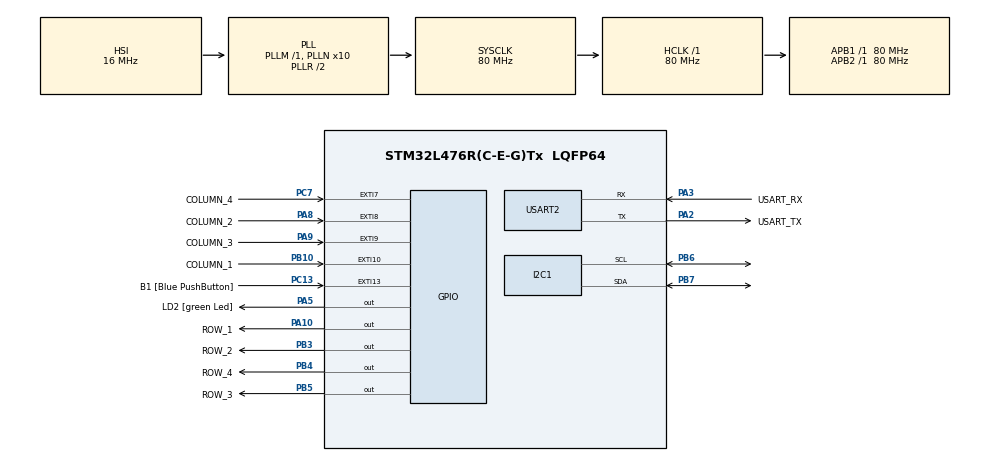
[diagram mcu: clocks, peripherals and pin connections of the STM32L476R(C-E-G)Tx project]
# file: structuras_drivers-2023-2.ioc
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I2C1.Timing=0x10909CEC
Mcu.Family=STM32L4
Mcu.Name=STM32L476R(C-E-G)Tx
Mcu.Package=LQFP64
NVIC.EXTI15_10_IRQn=true\:0\:0\:false\:false\:true\:true\:true\:true
NVIC.EXTI9_5_IRQn=true\:0\:0\:false\:false\:true\:true\:true\:true
NVIC.PriorityGroup=NVIC_PRIORITYGROUP_4
NVIC.USART2_IRQn=true\:0\:0\:false\:false\:true\:true\:true\:true
PA10.GPIO_Label=ROW_1
PA10.Signal=GPIO_Output
PA13\ (JTMS-SWDIO).GPIO_Label=TMS
PA13\ (JTMS-SWDIO).Mode=Serial_Wire
PA13\ (JTMS-SWDIO).Signal=SYS_JTMS-SWDIO
PA14\ (JTCK-SWCLK).GPIO_Label=TCK
PA14\ (JTCK-SWCLK).Mode=Serial_Wire
PA14\ (JTCK-SWCLK).Signal=SYS_JTCK-SWCLK
PA2.GPIO_Label=USART_TX
PA2.GPIO_Mode=GPIO_MODE_AF_PP
PA2.GPIO_PuPd=GPIO_NOPULL
PA2.GPIO_Speed=GPIO_SPEED_FREQ_VERY_HIGH
PA2.Mode=Asynchronous
PA2.Signal=USART2_TX
PA3.GPIO_Label=USART_RX
PA3.GPIO_Mode=GPIO_MODE_AF_PP
PA3.GPIO_PuPd=GPIO_NOPULL
PA3.GPIO_Speed=GPIO_SPEED_FREQ_VERY_HIGH
PA3.Mode=Asynchronous
PA3.Signal=USART2_RX
PA5.GPIO_Label=LD2 [green Led]
PA5.GPIO_ModeDefaultOutputPP=GPIO_MODE_OUTPUT_PP
PA5.GPIO_PuPd=GPIO_NOPULL
PA5.GPIO_Speed=GPIO_SPEED_FREQ_LOW
PA5.Signal=GPIO_Output
PA8.GPIO_Label=COLUMN_2
PA8.Signal=GPXTI8
PA9.GPIO_Label=COLUMN_3
PA9.Signal=GPXTI9
PB10.GPIO_Label=COLUMN_1
PB10.Signal=GPXTI10
PB3\ (JTDO-TRACESWO).GPIO_Label=ROW_2
PB3\ (JTDO-TRACESWO).Signal=GPIO_Output
PB4\ (NJTRST).GPIO_Label=ROW_4
PB4\ (NJTRST).Signal=GPIO_Output
PB5.GPIO_Label=ROW_3
PB5.Signal=GPIO_Output
PB6.Mode=I2C
PB6.Signal=I2C1_SCL
PB7.Mode=I2C
PB7.Signal=I2C1_SDA
PC13.GPIO_Label=B1 [Blue PushButton]
PC13.GPIO_ModeDefaultEXTI=GPIO_MODE_IT_FALLING
PC13.GPIO_PuPd=GPIO_NOPULL
PC13.Signal=GPXTI13
PC14-OSC32_IN\ (PC14).Mode=LSE-External-Oscillator
PC14-OSC32_IN\ (PC14).Signal=RCC_OSC32_IN
PC15-OSC32_OUT\ (PC15).Mode=LSE-External-Oscillator
PC15-OSC32_OUT\ (PC15).Signal=RCC_OSC32_OUT
PC7.GPIO_Label=COLUMN_4
PC7.Signal=GPXTI7
PH0-OSC_IN\ (PH0).Signal=RCC_OSC_IN
PH1-OSC_OUT\ (PH1).Signal=RCC_OSC_OUT
ProjectManager.HeapSize=0x200
ProjectManager.StackSize=0x400
ProjectManager.TargetToolchain=STM32CubeIDE
RCC.ADCFreq_Value=64000000
RCC.AHBFreq_Value=80000000
RCC.APB1Freq_Value=80000000
RCC.APB1TimFreq_Value=80000000
RCC.APB2Freq_Value=80000000
RCC.APB2TimFreq_Value=80000000
RCC.CortexFreq_Value=80000000
RCC.HCLKFreq_Value=80000000
RCC.HSE_VALUE=8000000
RCC.HSI_VALUE=16000000
RCC.MSI_VALUE=4000000
RCC.PLLN=10
RCC.PLLSourceVirtual=RCC_PLLSOURCE_HSI
RCC.PREFETCH_ENABLE=1
RCC.SYSCLKFreq_VALUE=80000000
RCC.SYSCLKSource=RCC_SYSCLKSOURCE_PLLCLK
RCC.USBFreq_Value=64000000
RCC.VCOOutputFreq_Value=160000000
USART2.VirtualMode-Asynchronous=VM_ASYNC
board=NUCLEO-L476RG

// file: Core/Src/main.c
/* USER CODE BEGIN Header */
/**
  ******************************************************************************
  * @file           : main.c
  * @brief          : Main program body
  ******************************************************************************
  * @attention
  *
  * Copyright (c) 2023 STMicroelectronics.
  * All rights reserved.
  *
  * This software is licensed under terms that can be found in the LICENSE file
  * in the root directory of this software component.
  * If no LICENSE file comes with this software, it is provided AS-IS.
  *
  ******************************************************************************
  */
/* USER CODE END Header */
#include "main.h"

/* USER CODE BEGIN Includes */
#include <stdio.h>

#include "ring_buffer.h"

#include "ssd1306.h"
#include "ssd1306_fonts.h"
/* USER CODE END Includes */

I2C_HandleTypeDef hi2c1;

UART_HandleTypeDef huart2;

/* USER CODE BEGIN PV */
ring_buffer_t ring_buffer_uart_rx;
uint8_t rx_buffer[16];

uint8_t rx_data;

uint16_t key_event = 0xFF;

ring_buffer_t ring_buffer_keypad;
uint8_t count = 0;
uint16_t memory[5];
/* USER CODE END PV */

void SystemClock_Config(void);
static void MX_GPIO_Init(void);
static void MX_USART2_UART_Init(void);
static void MX_I2C1_Init(void);

/* USER CODE BEGIN 0 */

int _write(int file, char *ptr, int len)
{
  HAL_UART_Transmit(&huart2, (uint8_t *)ptr, len, HAL_MAX_DELAY);
  return len;
}
/**
  * @brief  Rx Transfer completed callback.
  * @param  huart UART handle.
  * @retval None
  */
void HAL_UART_RxCpltCallback(UART_HandleTypeDef *huart)
{
	if (ring_buffer_put(&ring_buffer_uart_rx, rx_data) == 0) {
		printf("Rx buffer is full\r\n");
	}

	HAL_UART_Receive_IT(&huart2, &rx_data, 1);
}

/**
  * @brief  EXTI line detection callback.
  * @param  GPIO_Pin Specifies the port pin connected
  *         to corresponding EXTI line.
  * @retval None
  */
void HAL_GPIO_EXTI_Callback(uint16_t GPIO_Pin)
{
	key_event = GPIO_Pin;
}

/**
 * @brief This functions initialize the functionality of the keypad
 */
void keypad_init(void)
{
	/* Set the rows high to be detected in the columns by rising interrupt */
	ROW_1_GPIO_Port->BSRR = ROW_1_Pin;
	ROW_2_GPIO_Port->BSRR = ROW_2_Pin;
	ROW_3_GPIO_Port->BSRR = ROW_3_Pin;
	ROW_4_GPIO_Port->BSRR = ROW_4_Pin;
}

/**
 * @brief  This function debounces and identify keypad events.
 * @param  column_to_evaluate: the column where the event happened.
 * @retval 0xFF -> invalid key. [0x00 - 0x0F] -> valid key.
 */
uint8_t keypad_handler(uint16_t column_to_evaluate)
{
	uint8_t key_pressed = 0xFF; // Value to return

	/*** Debounce the key press (remove noise in the key) ***/
#define KEY_DEBOUNCE_MS 300 /*!> Minimum time required for since last press */
	static uint32_t last_pressed_tick = 0;
	if (HAL_GetTick() <= (last_pressed_tick + KEY_DEBOUNCE_MS)) {
		// less than KEY_DEBOUNCE_MS since last press. Probably noise
		return key_pressed; // return 0xFF
	}
	last_pressed_tick = HAL_GetTick();

	/*** Check in which column the event happened ***/
	switch (column_to_evaluate) {

	case COLUMN_1_Pin:
		ROW_1_GPIO_Port->BSRR = ROW_1_Pin; // turn on row 1
		ROW_2_GPIO_Port->BRR = ROW_2_Pin;  // turn off row 2
		ROW_3_GPIO_Port->BRR = ROW_3_Pin;  // turn off row 3
		ROW_4_GPIO_Port->BRR = ROW_4_Pin;  // turn off row 4
		HAL_Delay(2); // wait for voltage to establish
		if (COLUMN_1_GPIO_Port->IDR & COLUMN_1_Pin) {
			key_pressed = 0x01; // if column 1 is still high -> column 1 + row 1 = key 1
			break;
		}

		ROW_1_GPIO_Port->BRR = ROW_1_Pin; 	// turn off row 1
		ROW_2_GPIO_Port->BSRR = ROW_2_Pin; 	// turn on row 2
		HAL_Delay(2); // wait for voltage to establish
		if (COLUMN_1_GPIO_Port->IDR & COLUMN_1_Pin) {
			key_pressed = 0x04; // if column 1 is still high -> column 1 + row 2 = key 4
			break;
		}

		ROW_2_GPIO_Port->BRR = ROW_2_Pin; 	// turn off row 2
		ROW_3_GPIO_Port->BSRR = ROW_3_Pin; 	// turn on row 3
		HAL_Delay(2); // wait for voltage to establish
		if (COLUMN_1_GPIO_Port->IDR & COLUMN_1_Pin) {
			key_pressed = 0x07; // if column 1 is still high -> column 1 + row 3 = key 7
			break;
		}

		ROW_3_GPIO_Port->BRR = ROW_3_Pin;	// turn off row 3
		ROW_4_GPIO_Port->BSRR = ROW_4_Pin; 	// turn on row 4
		HAL_Delay(2); // wait for voltage to establish
		if (COLUMN_1_GPIO_Port->IDR & COLUMN_1_Pin) {
			key_pressed = 0x0E; // if column 1 is still high -> column 1 + row 4 = key *
			break;
		}
	  break;

	case COLUMN_2_Pin:
		ROW_1_GPIO_Port->BSRR = ROW_1_Pin; // turn on row 1
		ROW_2_GPIO_Port->BRR = ROW_2_Pin;  // turn off row 2
		ROW_3_GPIO_Port->BRR = ROW_3_Pin;  // turn off row 3
		ROW_4_GPIO_Port->BRR = ROW_4_Pin;  // turn off row 4
		HAL_Delay(2); // wait for voltage to establish
		if (COLUMN_2_GPIO_Port->IDR & COLUMN_2_Pin) {
			key_pressed = 0x02; // if column 2 is still high -> column 2 + row 1 = key 2
			break;
		}

		ROW_1_GPIO_Port->BRR = ROW_1_Pin; 	// turn off row 1
		ROW_2_GPIO_Port->BSRR = ROW_2_Pin; 	// turn on row 2
		HAL_Delay(2); // wait for voltage to establish
		if (COLUMN_2_GPIO_Port->IDR & COLUMN_2_Pin) {
			key_pressed = 0x05; // if column 2 is still high -> column 2 + row 2 = key 5
			break;
		}

		ROW_2_GPIO_Port->BRR = ROW_2_Pin; 	// turn off row 2
		ROW_3_GPIO_Port->BSRR = ROW_3_Pin; 	// turn on row 3
		HAL_Delay(2); // wait for voltage to establish
		if (COLUMN_2_GPIO_Port->IDR & COLUMN_2_Pin) {
			key_pressed = 0x08; // if column 2 is still high -> column 2 + row 3 = key 8
			break;
		}

		ROW_3_GPIO_Port->BRR = ROW_3_Pin;	// turn off row 3
		ROW_4_GPIO_Port->BSRR = ROW_4_Pin; 	// turn on row 4
		HAL_Delay(2); // wait for voltage to establish
		if (COLUMN_2_GPIO_Port->IDR & COLUMN_2_Pin) {
			key_pressed = 0x00; // if column 2 is still high -> column 2 + row 4 = key 0
			break;
		}
		break;

	case COLUMN_3_Pin:
		ROW_1_GPIO_Port->BSRR = ROW_1_Pin; // turn on row 1
		ROW_2_GPIO_Port->BRR = ROW_2_Pin;  // turn off row 2
		ROW_3_GPIO_Port->BRR = ROW_3_Pin;  // turn off row 3
		ROW_4_GPIO_Port->BRR = ROW_4_Pin;  // turn off row 4
		HAL_Delay(2); // wait for voltage to establish
		if (COLUMN_3_GPIO_Port->IDR & COLUMN_3_Pin) {
			key_pressed = 0x03; // if column 3 is still high -> column 3 + row 1 = key 3
			break;
		}

		ROW_1_GPIO_Port->BRR = ROW_1_Pin; 	// turn off row 1
		ROW_2_GPIO_Port->BSRR = ROW_2_Pin; 	// turn on row 2
		HAL_Delay(2); // wait for voltage to establish
		if (COLUMN_3_GPIO_Port->IDR & COLUMN_3_Pin) {
			key_pressed = 0x06; // if column 3 is still high -> column 3 + row 2 = key 6
			break;
		}

		ROW_2_GPIO_Port->BRR = ROW_2_Pin; 	// turn off row 2
		ROW_3_GPIO_Port->BSRR = ROW_3_Pin; 	// turn on row 3
		HAL_Delay(2); // wait for voltage to establish
		if (COLUMN_3_GPIO_Port->IDR & COLUMN_3_Pin) {
			key_pressed = 0x09; // if column 3 is still high -> column 3 + row 3 = key 9
			break;
		}

		ROW_3_GPIO_Port->BRR = ROW_3_Pin;	// turn off row 3
		ROW_4_GPIO_Port->BSRR = ROW_4_Pin; 	// turn on row 4
		HAL_Delay(2); // wait for voltage to establish
		if (COLUMN_3_GPIO_Port->IDR & COLUMN_3_Pin) {
			key_pressed = 0x0F; // if column 3 is still high -> column 3 + row 4 = key #
			break;
		}
		break;

	case COLUMN_4_Pin:
		ROW_1_GPIO_Port->BSRR = ROW_1_Pin; // turn on row 1
		ROW_2_GPIO_Port->BRR = ROW_2_Pin;  // turn off row 2
		ROW_3_GPIO_Port->BRR = ROW_3_Pin;  // turn off row 3
		ROW_4_GPIO_Port->BRR = ROW_4_Pin;  // turn off row 4
		HAL_Delay(2); // wait for voltage to establish
		if (COLUMN_4_GPIO_Port->IDR & COLUMN_4_Pin) {
			key_pressed = 0x0A; // if column 4 is still high -> column 4 + row 1 = key A
			break;
		}

		ROW_1_GPIO_Port->BRR = ROW_1_Pin; 	// turn off row 1
		ROW_2_GPIO_Port->BSRR = ROW_2_Pin; 	// turn on row 2
		HAL_Delay(2); // wait for voltage to establish
		if (COLUMN_4_GPIO_Port->IDR & COLUMN_4_Pin) {
			key_pressed = 0x0B; // if column 4 is still high -> column 4 + row 2 = key B
			break;
		}

		ROW_2_GPIO_Port->BRR = ROW_2_Pin; 	// turn off row 2
		ROW_3_GPIO_Port->BSRR = ROW_3_Pin; 	// turn on row 3
		HAL_Delay(2); // wait for voltage to establish
		if (COLUMN_4_GPIO_Port->IDR & COLUMN_4_Pin) {
			key_pressed = 0x0C; // if column 4 is still high -> column 4 + row 3 = key C
			break;
		}

		ROW_3_GPIO_Port->BRR = ROW_3_Pin;	// turn off row 3
		ROW_4_GPIO_Port->BSRR = ROW_4_Pin; 	// turn on row 4
		HAL_Delay(2); // wait for voltage to establish
		if (COLUMN_4_GPIO_Port->IDR & COLUMN_4_Pin) {
			key_pressed = 0x0D; // if column 4 is still high -> column 4 + row 4 = key D
			break;
		}
		break;

	default:
		/* This should not be reached */
		printf("Unknown column: %x\r\n", column_to_evaluate);
	  break;
	}

	keypad_init(); // set the columns high again
	return key_pressed; // invalid: 0xFF, valid:[0x00-0x0F]
}
/* USER CODE END 0 */

int main(void)
{

  /* MCU Configuration--------------------------------------------------------*/

  /* Reset of all peripherals, Initializes the Flash interface and the Systick. */
  HAL_Init();

  /* Configure the system clock */
  SystemClock_Config();

  /* Initialize all configured peripherals */
  MX_GPIO_Init();
  MX_USART2_UART_Init();
  MX_I2C1_Init();
  /* USER CODE BEGIN 2 */
  ring_buffer_init(&ring_buffer_uart_rx, rx_buffer, 16);

  HAL_UART_Receive_IT(&huart2, &rx_data, 1);

  keypad_init(); // Initialize the keypad functionality

  ssd1306_Init();
  ssd1306_Fill(Black);
  ssd1306_SetCursor(20, 20);
  ssd1306_WriteString("ingresar key", Font_7x10, White);
  ssd1306_UpdateScreen();
  /* USER CODE END 2 */

  /* Infinite loop */
  /* USER CODE BEGIN WHILE */
  // while que indica el funcionamiento de el display con keypad
  while (1)
  {
	  /*if (key_event != 0xFF) { // check if there is a event from the EXTi callback
		  uint16_t key_pressed = keypad_handler(key_event); // call the keypad handler
		  if (key_pressed != 0xFF) {
			  printf("Key pressed: %x\r\n", key_pressed); // print the key pressed
		  }
		  key_event = 0xFF; // clean the event
		  }   */

	  // se ingresa cada vez que se pulsa un tecla del taclado.
	 	  if (key_event != 0xFF) { // check if there is a event from the EXTi callback
	 	 		  uint16_t key_pressed = keypad_handler(key_event); // call the keypad handler
	 	 		  if (key_pressed != 0xFF) {
	 	 			  printf("Key pressed: %x\r\n", key_pressed); // print the key pressed

	 	 			  // guarda los cuadtro digitos de la key y se presona '#' para finalizar la lectura y proceder con la verificacion.
	 	 			  if (memory[4] != 0x0F){
	 	 			  memory[count] = key_pressed;
	 	 			  count = count + 1;}
	 	 		  	  }

	 	 		  	  // Validamos si la key corresponde con el año de nacimiento.
	 	 		  	  // Se valida al preciconar la tecla # para completar las 5 teclas presionadas.
	 	 		  	  if (memory[4] == 0x0F){
	 	 		  		  // Pe varifica se los valores ingresados coinciden de ser correcto se imprime Pass en la pantalla.
	 	 		  		  if (memory[0] == 0x02 && memory[1] == 0x00 && memory[2] == 0x00 && memory[3] == 0x03){
	 	 		  			  ssd1306_Init();
	 	 		  			  ssd1306_Fill(Black);
	 	 		  			  ssd1306_SetCursor(20, 20);
	 	 		  			  ssd1306_WriteString("Pass", Font_7x10, White);
	 	 		  			  ssd1306_UpdateScreen();
	 	 		  			  // caso contrario se imprime Fail en la pantalla.
	 	 		  		  } else {
	 	 		  			  ssd1306_Init();
	 	 		  			  ssd1306_Fill(Black);
	 	 		  			  ssd1306_SetCursor(20, 20);
	 	 		  			  ssd1306_WriteString("Fail", Font_7x10, White);
	 	 		  			  ssd1306_UpdateScreen();
	 	 		  		  	  	  }
	 	 		  	  	  }
	 	 		  	  // Una vez ingresados los datos de y se a verificado si es correcta o no la key presione  '*' para ingresar nuevamente una key.
	 	 		  	  if (key_pressed == 0x0E){
	 	 		  		  for (uint8_t i = 0; i < 5 ; i++){
	 	 		  			  memory[i]= 0;
	 	 		  			  count = 0;
	 	 		  		  }
	 	 		  		  ssd1306_Init();
	 	 		  		  ssd1306_Fill(Black);
	 	 		  		  ssd1306_SetCursor(20, 20);
	 	 		  		  ssd1306_WriteString("Ingrese key", Font_7x10, White);
	 	 		  		  ssd1306_UpdateScreen();
	 	 		  	  }
	 	 		  key_event = 0xFF; // clean the event

	 	  	  }

    /* USER CODE END WHILE */

  }
}

void SystemClock_Config(void)
{
  RCC_OscInitTypeDef RCC_OscInitStruct = {0};
  RCC_ClkInitTypeDef RCC_ClkInitStruct = {0};

  /** Configure the main internal regulator output voltage
  */
  if (HAL_PWREx_ControlVoltageScaling(PWR_REGULATOR_VOLTAGE_SCALE1) != HAL_OK)
  {
    Error_Handler();
  }

  /** Initializes the RCC Oscillators according to the specified parameters
  * in the RCC_OscInitTypeDef structure.
  */
  RCC_OscInitStruct.OscillatorType = RCC_OSCILLATORTYPE_HSI;
  RCC_OscInitStruct.HSIState = RCC_HSI_ON;
  RCC_OscInitStruct.HSICalibrationValue = RCC_HSICALIBRATION_DEFAULT;
  RCC_OscInitStruct.PLL.PLLState = RCC_PLL_ON;
  RCC_OscInitStruct.PLL.PLLSource = RCC_PLLSOURCE_HSI;
  RCC_OscInitStruct.PLL.PLLM = 1;
  RCC_OscInitStruct.PLL.PLLN = 10;
  RCC_OscInitStruct.PLL.PLLP = RCC_PLLP_DIV7;
  RCC_OscInitStruct.PLL.PLLQ = RCC_PLLQ_DIV2;
  RCC_OscInitStruct.PLL.PLLR = RCC_PLLR_DIV2;
  if (HAL_RCC_OscConfig(&RCC_OscInitStruct) != HAL_OK)
  {
    Error_Handler();
  }

  /** Initializes the CPU, AHB and APB buses clocks
  */
  RCC_ClkInitStruct.ClockType = RCC_CLOCKTYPE_HCLK|RCC_CLOCKTYPE_SYSCLK
                              |RCC_CLOCKTYPE_PCLK1|RCC_CLOCKTYPE_PCLK2;
  RCC_ClkInitStruct.SYSCLKSource = RCC_SYSCLKSOURCE_PLLCLK;
  RCC_ClkInitStruct.AHBCLKDivider = RCC_SYSCLK_DIV1;
  RCC_ClkInitStruct.APB1CLKDivider = RCC_HCLK_DIV1;
  RCC_ClkInitStruct.APB2CLKDivider = RCC_HCLK_DIV1;

  if (HAL_RCC_ClockConfig(&RCC_ClkInitStruct, FLASH_LATENCY_4) != HAL_OK)
  {
    Error_Handler();
  }
}

static void MX_I2C1_Init(void)
{

  hi2c1.Instance = I2C1;
  hi2c1.Init.Timing = 0x10909CEC;
  hi2c1.Init.OwnAddress1 = 0;
  hi2c1.Init.AddressingMode = I2C_ADDRESSINGMODE_7BIT;
  hi2c1.Init.DualAddressMode = I2C_DUALADDRESS_DISABLE;
  hi2c1.Init.OwnAddress2 = 0;
  hi2c1.Init.OwnAddress2Masks = I2C_OA2_NOMASK;
  hi2c1.Init.GeneralCallMode = I2C_GENERALCALL_DISABLE;
  hi2c1.Init.NoStretchMode = I2C_NOSTRETCH_DISABLE;
  if (HAL_I2C_Init(&hi2c1) != HAL_OK)
  {
    Error_Handler();
  }

  /** Configure Analogue filter
  */
  if (HAL_I2CEx_ConfigAnalogFilter(&hi2c1, I2C_ANALOGFILTER_ENABLE) != HAL_OK)
  {
    Error_Handler();
  }

  /** Configure Digital filter
  */
  if (HAL_I2CEx_ConfigDigitalFilter(&hi2c1, 0) != HAL_OK)
  {
    Error_Handler();
  }

}

static void MX_USART2_UART_Init(void)
{

  huart2.Instance = USART2;
  huart2.Init.BaudRate = 115200;
  huart2.Init.WordLength = UART_WORDLENGTH_8B;
  huart2.Init.StopBits = UART_STOPBITS_1;
  huart2.Init.Parity = UART_PARITY_NONE;
  huart2.Init.Mode = UART_MODE_TX_RX;
  huart2.Init.HwFlowCtl = UART_HWCONTROL_NONE;
  huart2.Init.OverSampling = UART_OVERSAMPLING_16;
  huart2.Init.OneBitSampling = UART_ONE_BIT_SAMPLE_DISABLE;
  huart2.AdvancedInit.AdvFeatureInit = UART_ADVFEATURE_NO_INIT;
  if (HAL_UART_Init(&huart2) != HAL_OK)
  {
    Error_Handler();
  }

}

static void MX_GPIO_Init(void)
{
  GPIO_InitTypeDef GPIO_InitStruct = {0};

  /* GPIO Ports Clock Enable */
  __HAL_RCC_GPIOC_CLK_ENABLE();
  __HAL_RCC_GPIOH_CLK_ENABLE();
  __HAL_RCC_GPIOA_CLK_ENABLE();
  __HAL_RCC_GPIOB_CLK_ENABLE();

  /*Configure GPIO pin Output Level */
  HAL_GPIO_WritePin(GPIOA, LD2_Pin|ROW_1_Pin, GPIO_PIN_RESET);

  /*Configure GPIO pin Output Level */
  HAL_GPIO_WritePin(GPIOB, ROW_2_Pin|ROW_4_Pin|ROW_3_Pin, GPIO_PIN_RESET);

  /*Configure GPIO pin : B1_Pin */
  GPIO_InitStruct.Pin = B1_Pin;
  GPIO_InitStruct.Mode = GPIO_MODE_IT_FALLING;
  GPIO_InitStruct.Pull = GPIO_NOPULL;
  HAL_GPIO_Init(B1_GPIO_Port, &GPIO_InitStruct);

  /*Configure GPIO pins : LD2_Pin ROW_1_Pin */
  GPIO_InitStruct.Pin = LD2_Pin|ROW_1_Pin;
  GPIO_InitStruct.Mode = GPIO_MODE_OUTPUT_PP;
  GPIO_InitStruct.Pull = GPIO_NOPULL;
  GPIO_InitStruct.Speed = GPIO_SPEED_FREQ_LOW;
  HAL_GPIO_Init(GPIOA, &GPIO_InitStruct);

  /*Configure GPIO pin : COLUMN_1_Pin */
  GPIO_InitStruct.Pin = COLUMN_1_Pin;
  GPIO_InitStruct.Mode = GPIO_MODE_IT_RISING;
  GPIO_InitStruct.Pull = GPIO_NOPULL;
  HAL_GPIO_Init(COLUMN_1_GPIO_Port, &GPIO_InitStruct);

  /*Configure GPIO pin : COLUMN_4_Pin */
  GPIO_InitStruct.Pin = COLUMN_4_Pin;
  GPIO_InitStruct.Mode = GPIO_MODE_IT_RISING;
  GPIO_InitStruct.Pull = GPIO_NOPULL;
  HAL_GPIO_Init(COLUMN_4_GPIO_Port, &GPIO_InitStruct);

  /*Configure GPIO pins : COLUMN_2_Pin COLUMN_3_Pin */
  GPIO_InitStruct.Pin = COLUMN_2_Pin|COLUMN_3_Pin;
  GPIO_InitStruct.Mode = GPIO_MODE_IT_RISING;
  GPIO_InitStruct.Pull = GPIO_NOPULL;
  HAL_GPIO_Init(GPIOA, &GPIO_InitStruct);

  /*Configure GPIO pins : ROW_2_Pin ROW_4_Pin ROW_3_Pin */
  GPIO_InitStruct.Pin = ROW_2_Pin|ROW_4_Pin|ROW_3_Pin;
  GPIO_InitStruct.Mode = GPIO_MODE_OUTPUT_PP;
  GPIO_InitStruct.Pull = GPIO_NOPULL;
  GPIO_InitStruct.Speed = GPIO_SPEED_FREQ_LOW;
  HAL_GPIO_Init(GPIOB, &GPIO_InitStruct);

  /* EXTI interrupt init*/
  HAL_NVIC_SetPriority(EXTI9_5_IRQn, 0, 0);
  HAL_NVIC_EnableIRQ(EXTI9_5_IRQn);

  HAL_NVIC_SetPriority(EXTI15_10_IRQn, 0, 0);
  HAL_NVIC_EnableIRQ(EXTI15_10_IRQn);

}

void Error_Handler(void)
{
  __disable_irq();
  while (1)
  {
  }
}
